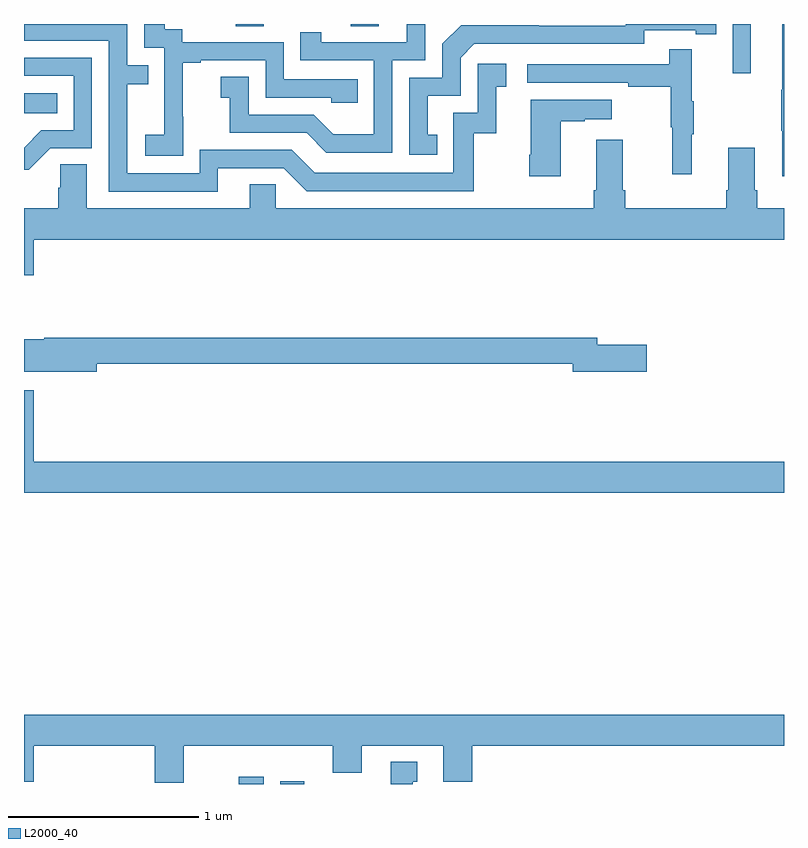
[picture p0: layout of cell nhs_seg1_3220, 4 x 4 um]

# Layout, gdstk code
import gdstk
lib = gdstk.Library(unit=1e-6, precision=1e-09)
def R(c, l, rs):  # rectangles x0, y0, x1, y1
    for r in rs: c.add(gdstk.rectangle(r[:2], r[2:], *l))
def P(c, l, *ps):  # polygons
    for p in ps: c.add(gdstk.Polygon(p, *l))
L2000_40 = (2000, 40)

nhs_seg1_3220 = lib.new_cell('nhs_seg1_3220')
R(nhs_seg1_3220, L2000_40, [(286.13,550.199,286.261,550.237), (286.349,550.199,286.474,550.213), (285,553.73,285.176,553.834), (288.729,553.941,288.826,554.199), (286.115,554.188,286.263,554.199), (286.72,554.188,286.867,554.199)])
P(nhs_seg1_3220, L2000_40, [(285.837,553.711),(285.836,553.711),(285.836,553.995),(285.931,553.995),(285.931,554.007),(286.272,554.007),(286.272,553.812),(286.617,553.812),(286.617,553.785),(286.757,553.785),(286.757,553.908),(286.368,553.908),(286.368,554.103),(285.834,554.103),(285.834,554.172),(285.742,554.172),(285.742,554.199),(285.633,554.199),(285.633,554.073),(285.738,554.073),(285.738,553.844),(285.737,553.844),(285.737,553.615),(285.639,553.615),(285.639,553.505),(285.837,553.505)],
  [(287.174,553.617),(287.125,553.617),(287.125,553.821),(287.298,553.821),(287.298,554.022),(287.37,554.094),(288.264,554.094),(288.264,554.166),(288.536,554.166),(288.536,554.146),(288.644,554.146),(288.644,554.199),(288.168,554.199),(288.168,554.19),(287.708,554.19),(287.708,554.192),(287.3,554.192),(287.202,554.094),(287.202,553.917),(287.028,553.917),(287.028,553.512),(287.174,553.512)],
  [(286.021,553.44),(286.368,553.44),(286.488,553.32),(287.368,553.32),(287.368,553.623),(287.486,553.623),(287.486,553.869),(287.539,553.869),(287.539,553.99),(287.388,553.99),(287.388,553.731),(287.259,553.731),(287.259,553.416),(286.53,553.416),(286.41,553.536),(285.924,553.536),(285.924,553.413),(285.543,553.413),(285.543,553.882),(285.653,553.882),(285.653,553.983),(285.543,553.983),(285.543,554.199),(285,554.199),(285,554.112),(285.447,554.112),(285.447,553.317),(286.021,553.317)],
  [(289,554.199),(288.992,554.199),(288.992,553.853),(288.985,553.853),(288.985,553.636),(288.992,553.636),(288.992,553.398),(289,553.398)],
  [(286.938,554.007),(287.112,554.007),(287.112,554.199),(287.015,554.199),(287.015,554.103),(286.564,554.103),(286.564,554.155),(286.453,554.155),(286.453,554.007),(286.842,554.007),(286.842,553.618),(286.628,553.618),(286.524,553.722),(286.182,553.722),(286.182,553.921),(286.035,553.921),(286.035,553.811),(286.084,553.811),(286.084,553.626),(286.487,553.626),(286.592,553.521),(286.938,553.521)],
  [(288.515,553.619),(288.526,553.619),(288.526,553.793),(288.515,553.793),(288.515,554.065),(288.397,554.065),(288.397,553.986),(287.649,553.986),(287.649,553.89),(288.181,553.89),(288.181,553.87),(288.405,553.87),(288.405,553.656),(288.412,553.656),(288.412,553.407),(288.515,553.407)],
  [(285.138,553.545),(285.357,553.545),(285.357,554.022),(285,554.022),(285,553.926),(285.261,553.926),(285.261,553.641),(285.092,553.641),(285,553.549),(285,553.433),(285.025,553.433)],
  [(287.824,553.687),(287.951,553.687),(287.951,553.697),(288.094,553.697),(288.094,553.801),(287.666,553.801),(287.666,553.51),(287.659,553.51),(287.659,553.398),(287.824,553.398)],
  [(285.052,553.064),(289,553.064),(289,553.228),(288.86,553.228),(288.86,553.324),(288.847,553.324),(288.847,553.549),(288.707,553.549),(288.707,553.324),(288.695,553.324),(288.695,553.228),(288.164,553.228),(288.164,553.324),(288.151,553.324),(288.151,553.591),(288.011,553.591),(288.011,553.324),(287.999,553.324),(287.999,553.228),(286.326,553.228),(286.326,553.355),(286.187,553.355),(286.187,553.228),(285.331,553.228),(285.331,553.46),(285.192,553.46),(285.192,553.337),(285.179,553.337),(285.179,553.228),(285,553.228),(285,552.876),(285.052,552.876)],
  [(285.382,552.412),(287.888,552.412),(287.888,552.37),(288.277,552.37),(288.277,552.512),(288.016,552.512),(288.016,552.548),(285.106,552.548),(285.106,552.541),(285,552.541),(285,552.431),(285.002,552.431),(285.002,552.37),(285.382,552.37)],
  [(289,551.896),(285.052,551.896),(285.052,552.271),(285,552.271),(285,551.732),(289,551.732)],
  [(285.841,550.4),(286.625,550.4),(286.625,550.259),(286.777,550.259),(286.777,550.4),(287.207,550.4),(287.207,550.211),(287.36,550.211),(287.36,550.4),(289,550.4),(289,550.564),(285,550.564),(285,550.212),(285.052,550.212),(285.052,550.4),(285.689,550.4),(285.689,550.206),(285.841,550.206)],
  [(287.047,550.212),(287.071,550.212),(287.071,550.315),(286.931,550.315),(286.931,550.199),(287.047,550.199)])

lib.write_gds('nhs_seg1_3220.gds')
